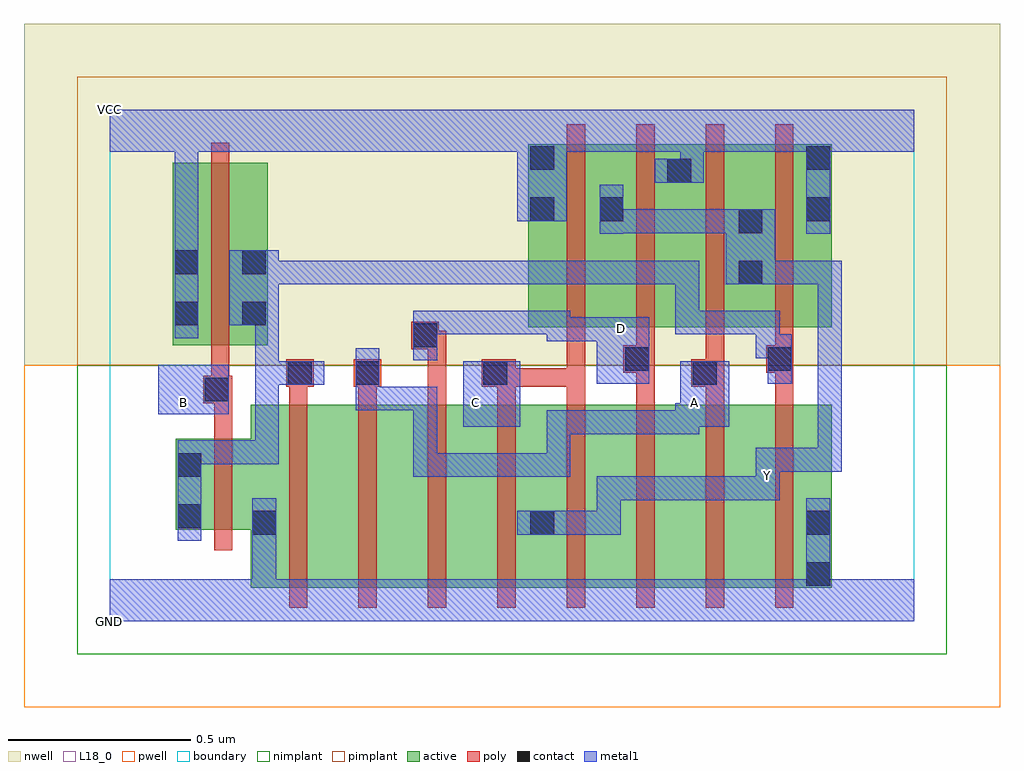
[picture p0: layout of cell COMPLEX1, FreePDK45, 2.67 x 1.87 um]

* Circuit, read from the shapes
.subckt COMPLEX1 A B C D GND VCC Y
M1 GND B n1 VSUBS nfet w=0.25u l=0.05u
M2 n2 n1 GND VSUBS nfet w=0.5u l=0.05u
M3 n3 A n2 VSUBS nfet w=0.5u l=0.05u
M4 n4 D n3 VSUBS nfet w=0.5u l=0.05u
M5 Y C n4 VSUBS nfet w=0.5u l=0.05u
M6 n5 C Y VSUBS nfet w=0.5u l=0.05u
M7 n6 D n5 VSUBS nfet w=0.5u l=0.05u
M8 n7 A n6 VSUBS nfet w=0.5u l=0.05u
M9 GND n1 n7 VSUBS nfet w=0.5u l=0.05u
M10 n1 B VCC n8 pfet w=0.5u l=0.05u
M11 Y C VCC n8 pfet w=0.5u l=0.05u
M12 VCC D Y n8 pfet w=0.5u l=0.05u
M13 Y A VCC n8 pfet w=0.5u l=0.05u
M14 VCC n1 Y n8 pfet w=0.5u l=0.05u
.ends

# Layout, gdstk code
import gdstk
lib = gdstk.Library(unit=1e-6, precision=1e-09)
def R(c, l, rs):  # rectangles x0, y0, x1, y1
    for r in rs: c.add(gdstk.rectangle(r[:2], r[2:], *l))
def A(c, l, x, y, w, h, nx, ny, dx, dy):  # array of equal rectangles
    R(c, l, [(x+i*dx, y+j*dy, x+i*dx+w, y+j*dy+h) for i in range(nx) for j in range(ny)])
active = (1, 0)
pwell = (2, 0)
nwell = (3, 0)
nimplant = (4, 0)
pimplant = (5, 0)
poly = (9, 0)
contact = (10, 0)
metal1 = (11, 0)
L18_0 = (18, 0)
boundary = (235, 0)

complex1 = lib.new_cell('COMPLEX1')
R(complex1, active, [(0.385,0.092,0.61,0.592), (0.61,0.092,0.8,0.592), (0.8,0.092,0.99,0.592), (0.99,0.092,1.22,0.592), (1.145,0.092,1.37,0.592), (1.37,0.092,1.56,0.592), (1.56,0.092,1.75,0.592), (1.75,0.092,1.975,0.592), (1.9,0.092,1.975,0.592), (1.145,0.145,1.22,0.577), (0.385,0.232,0.46,0.497), (0.18,0.25,0.46,0.5), (0.18,0.25,0.255,0.5), (0.172,0.755,0.247,1.255), (0.172,0.755,0.432,1.255), (0.357,0.755,0.432,1.2), (1.145,0.805,1.41,1.305), (1.335,0.805,1.595,1.305), (1.52,0.805,1.79,1.305), (1.715,0.805,1.975,1.305), (1.9,0.805,1.975,1.305), (1.145,0.807,1.22,1.305), (1.335,0.807,1.41,1.2), (1.52,0.807,1.595,1.305), (1.715,0.807,1.79,1.2)])
R(complex1, pwell, [(-0.235,-0.235,2.435,0.7)])
R(complex1, nwell, [(-0.235,0.7,2.435,1.635)])
R(complex1, nimplant, [(-0.09,-0.09,2.29,0.7)])
R(complex1, pimplant, [(-0.09,0.7,2.29,1.49)])
A(complex1, poly, 0.49, 0.037, 0.05, 0.61, 8, 1, 0.19, 0)
A(complex1, poly, 1.25, 0.75, 0.05, 0.61, 4, 1, 0.19, 0)
R(complex1, poly, [(0.285,0.195,0.335,0.555), (0.285,0.505,0.335,0.647), (0.255,0.597,0.335,0.672), (0.49,0.597,0.54,0.692), (0.68,0.597,0.73,0.692), (0.87,0.597,0.92,0.795), (1.06,0.597,1.11,0.692), (1.25,0.597,1.3,0.692), (1.44,0.597,1.49,0.73), (1.63,0.597,1.68,0.692), (1.82,0.597,1.87,0.73), (0.277,0.622,0.327,0.672), (0.277,0.622,0.327,0.672), (0.277,0.622,0.327,0.75), (0.482,0.642,0.557,0.717), (0.667,0.642,0.742,0.717), (1.017,0.642,1.11,0.717), (1.06,0.642,1.3,0.692), (1.25,0.642,1.3,0.692), (1.25,0.642,1.3,0.692), (1.25,0.642,1.3,0.692), (1.25,0.642,1.3,0.692), (1.25,0.642,1.3,0.692), (1.25,0.642,1.3,0.8), (1.59,0.642,1.68,0.717), (1.63,0.667,1.68,0.717), (1.63,0.667,1.68,0.717), (1.63,0.667,1.68,0.8), (1.405,0.68,1.49,0.755), (1.44,0.68,1.49,0.73), (1.44,0.68,1.49,0.73), (1.795,0.68,1.87,0.755), (1.82,0.68,1.87,0.73), (1.82,0.68,1.87,0.73), (0.277,0.7,0.327,1.31), (1.44,0.705,1.49,0.8), (1.82,0.705,1.87,0.8), (0.825,0.745,0.9,0.82), (0.85,0.745,0.9,0.795), (0.85,0.745,0.92,0.795)])
R(complex1, contact, [(1.905,0.097,1.97,0.162), (0.39,0.237,0.455,0.302), (1.15,0.237,1.215,0.302), (1.905,0.237,1.97,0.302), (0.185,0.255,0.25,0.32), (0.185,0.395,0.25,0.46), (0.26,0.602,0.325,0.667), (0.487,0.647,0.552,0.712), (0.672,0.647,0.737,0.712), (1.022,0.647,1.087,0.712), (1.595,0.647,1.66,0.712), (1.41,0.685,1.475,0.75), (1.8,0.685,1.865,0.75), (0.83,0.75,0.895,0.815), (0.177,0.81,0.242,0.875), (0.362,0.81,0.427,0.875), (1.72,0.922,1.785,0.987), (0.177,0.95,0.242,1.015), (0.362,0.95,0.427,1.015), (1.72,1.062,1.785,1.127), (1.15,1.095,1.215,1.16), (1.34,1.095,1.405,1.16), (1.905,1.095,1.97,1.16), (1.525,1.2,1.59,1.265), (1.15,1.235,1.215,1.3), (1.905,1.235,1.97,1.3)])
R(complex1, metal1, [(0,0,2.2,0.115), (0.39,0.05,0.455,0.267), (1.905,0.05,1.97,0.127), (1.905,0.062,1.97,0.337), (0.39,0.202,0.455,0.337), (0.185,0.22,0.25,0.495), (1.115,0.237,1.25,0.302), (1.185,0.237,1.26,0.302), (1.195,0.237,1.26,0.302), (1.195,0.237,1.397,0.302), (1.332,0.237,1.397,0.302), (1.332,0.237,1.397,0.397), (1.332,0.332,1.397,0.397), (1.332,0.332,1.397,0.397), (1.332,0.332,1.397,0.397), (1.332,0.332,1.612,0.397), (1.547,0.332,1.612,0.397), (1.547,0.332,1.612,0.397), (1.547,0.332,1.612,0.397), (1.547,0.332,1.832,0.397), (1.767,0.332,1.832,0.397), (1.767,0.332,1.832,0.397), (1.767,0.332,1.832,0.475), (0.83,0.395,0.895,0.46), (0.83,0.395,1.1,0.46), (0.83,0.395,0.895,0.642), (1.035,0.395,1.1,0.46), (1.035,0.395,1.26,0.46), (1.195,0.395,1.26,0.46), (1.195,0.395,1.26,0.577), (1.767,0.41,1.832,0.475), (1.767,0.41,1.832,0.475), (1.767,0.41,2.002,0.475), (1.937,0.41,2.002,0.475), (1.937,0.41,2.002,0.987), (0.185,0.43,0.25,0.495), (0.185,0.43,0.25,0.495), (0.185,0.43,0.462,0.495), (0.397,0.43,0.462,0.495), (0.397,0.43,0.462,0.712), (1.195,0.512,1.26,0.577), (1.195,0.512,1.26,0.577), (1.195,0.512,1.26,0.577), (1.195,0.512,1.397,0.577), (1.332,0.512,1.397,0.577), (1.332,0.512,1.397,0.577), (1.332,0.512,1.397,0.577), (1.332,0.512,1.612,0.577), (1.547,0.512,1.612,0.597), (0.967,0.532,1.122,0.712), (1.547,0.532,1.625,0.597), (1.56,0.532,1.695,0.712), (0.132,0.567,0.325,0.702), (0.672,0.577,0.895,0.642), (0.672,0.577,0.737,0.677), (0.83,0.577,0.895,0.642), (0.83,0.577,0.895,0.642), (0.83,0.577,0.895,0.642), (0.672,0.612,0.737,0.677), (0.672,0.612,0.737,0.747), (0.397,0.647,0.462,0.712), (0.397,0.647,0.462,0.712), (0.397,0.647,0.462,0.712), (0.397,0.647,0.517,0.712), (0.397,0.647,0.462,0.875), (0.452,0.647,0.587,0.712), (1.332,0.65,1.475,0.832), (1.8,0.65,1.865,0.785), (0.83,0.715,0.895,0.85), (1.767,0.72,1.865,0.785), (1.767,0.72,1.832,0.85), (1.195,0.767,1.397,0.832), (1.195,0.767,1.26,0.85), (1.332,0.767,1.397,0.832), (1.332,0.767,1.397,0.832), (0.177,0.775,0.242,1.05), (0.83,0.785,0.895,0.85), (0.83,0.785,0.895,0.85), (0.83,0.785,1.122,0.85), (1.057,0.785,1.122,0.85), (1.057,0.785,1.26,0.85), (1.195,0.785,1.26,0.85), (1.195,0.785,1.26,0.85), (1.547,0.785,1.612,0.85), (1.547,0.785,1.612,0.85), (1.547,0.785,1.612,0.85), (1.547,0.785,1.832,0.85), (1.547,0.785,1.612,0.987), (0.327,0.81,0.462,1.015), (0.397,0.922,0.462,0.987), (0.397,0.922,0.462,0.987), (0.397,0.922,0.6,0.987), (0.535,0.922,0.6,0.987), (0.535,0.922,0.757,0.987), (0.692,0.922,0.757,0.987), (0.692,0.922,0.757,0.987), (0.692,0.922,0.757,0.987), (0.692,0.922,0.895,0.987), (0.83,0.922,0.895,0.987), (0.83,0.922,0.895,0.987), (0.83,0.922,0.895,0.987), (0.83,0.922,1.122,0.987), (1.057,0.922,1.122,0.987), (1.057,0.922,1.122,0.987), (1.057,0.922,1.122,0.987), (1.057,0.922,1.26,0.987), (1.195,0.922,1.26,0.987), (1.195,0.922,1.397,0.987), (1.332,0.922,1.397,0.987), (1.332,0.922,1.397,0.987), (1.332,0.922,1.397,0.987), (1.332,0.922,1.612,0.987), (1.547,0.922,1.612,0.987), (1.685,0.922,1.82,1.127), (1.755,0.922,1.832,0.987), (1.767,0.922,1.832,0.987), (1.767,0.922,2.002,0.987), (1.937,0.922,2.002,0.987), (1.937,0.922,2.002,0.987), (1.937,0.922,2.002,0.987), (0.177,0.985,0.242,1.35), (1.34,1.06,1.405,1.195), (1.905,1.06,1.97,1.335), (1.34,1.062,1.405,1.127), (1.34,1.062,1.405,1.127), (1.34,1.062,1.612,1.127), (1.547,1.062,1.612,1.127), (1.547,1.062,1.612,1.127), (1.547,1.062,1.612,1.127), (1.547,1.062,1.75,1.127), (1.685,1.062,1.75,1.127), (1.685,1.062,1.75,1.127), (1.115,1.095,1.25,1.3), (1.49,1.2,1.625,1.265), (1.56,1.2,1.625,1.35), (1.185,1.235,1.25,1.35), (1.905,1.27,1.97,1.35), (0,1.285,2.2,1.4)])
R(complex1, L18_0, [(0,0,2.2,0.115), (0.39,0.05,0.455,0.267), (1.905,0.05,1.97,0.127), (1.905,0.062,1.97,0.337), (0.39,0.202,0.455,0.337), (1.115,0.237,1.25,0.302), (1.185,0.237,1.26,0.302), (1.195,0.237,1.26,0.302), (1.195,0.237,1.397,0.302), (1.332,0.237,1.397,0.302), (1.332,0.237,1.397,0.397), (1.332,0.332,1.397,0.397), (1.332,0.332,1.397,0.397), (1.332,0.332,1.397,0.397), (1.332,0.332,1.612,0.397), (1.547,0.332,1.612,0.397), (1.547,0.332,1.612,0.397), (1.547,0.332,1.612,0.397), (1.547,0.332,1.832,0.397), (1.767,0.332,1.832,0.397), (1.767,0.332,1.832,0.397), (1.767,0.332,1.832,0.475), (1.767,0.367,1.832,0.432), (0.83,0.395,0.895,0.46), (0.83,0.395,0.895,0.642), (0.83,0.395,1.1,0.46), (1.035,0.395,1.1,0.46), (1.035,0.395,1.26,0.46), (1.195,0.395,1.26,0.46), (1.195,0.395,1.26,0.577), (1.767,0.41,1.832,0.475), (1.767,0.41,1.832,0.475), (1.767,0.41,2.002,0.475), (1.937,0.41,2.002,0.475), (1.937,0.41,2.002,0.987), (1.195,0.512,1.26,0.577), (1.195,0.512,1.26,0.577), (1.195,0.512,1.26,0.577), (1.195,0.512,1.397,0.577), (1.332,0.512,1.397,0.577), (1.332,0.512,1.397,0.577), (1.332,0.512,1.397,0.577), (1.332,0.512,1.612,0.577), (1.547,0.512,1.612,0.597), (0.967,0.532,1.122,0.712), (1.547,0.532,1.625,0.597), (1.56,0.532,1.695,0.712), (0.132,0.567,0.325,0.702), (0.167,0.567,0.232,0.632), (0.967,0.567,1.032,0.632), (1.567,0.567,1.632,0.632), (0.672,0.577,0.737,0.677), (0.672,0.577,0.895,0.642), (0.83,0.577,0.895,0.642), (0.83,0.577,0.895,0.642), (0.83,0.577,0.895,0.642), (0.672,0.612,0.737,0.747), (0.672,0.612,0.737,0.677), (1.332,0.65,1.475,0.832), (0.83,0.715,0.895,0.85), (1.195,0.767,1.26,0.85), (1.195,0.767,1.397,0.832), (1.332,0.767,1.397,0.832), (1.332,0.767,1.397,0.832), (1.367,0.767,1.432,0.832), (0.177,0.775,0.242,1.05), (0.83,0.785,0.895,0.85), (0.83,0.785,0.895,0.85), (0.83,0.785,1.122,0.85), (1.057,0.785,1.122,0.85), (1.057,0.785,1.26,0.85), (1.195,0.785,1.26,0.85), (1.195,0.785,1.26,0.85), (1.685,0.922,1.82,1.127), (1.755,0.922,1.832,0.987), (1.767,0.922,1.832,0.987), (1.767,0.922,2.002,0.987), (1.937,0.922,2.002,0.987), (1.937,0.922,2.002,0.987), (1.937,0.922,2.002,0.987), (0.177,0.985,0.242,1.35), (1.34,1.06,1.405,1.195), (1.905,1.06,1.97,1.335), (1.34,1.062,1.405,1.127), (1.34,1.062,1.405,1.127), (1.34,1.062,1.612,1.127), (1.547,1.062,1.612,1.127), (1.547,1.062,1.612,1.127), (1.547,1.062,1.612,1.127), (1.547,1.062,1.75,1.127), (1.685,1.062,1.75,1.127), (1.685,1.062,1.75,1.127), (1.115,1.095,1.25,1.3), (1.49,1.2,1.625,1.265), (1.56,1.2,1.625,1.35), (1.185,1.235,1.25,1.35), (1.905,1.27,1.97,1.35), (0,1.285,2.2,1.4)])
R(complex1, boundary, [(0,0,2.2,1.4)])
complex1.add(gdstk.Label('A', (1.6,0.6), layer=11, texttype=0))
complex1.add(gdstk.Label('B', (0.2,0.6), layer=11, texttype=0))
complex1.add(gdstk.Label('C', (1,0.6), layer=11, texttype=0))
complex1.add(gdstk.Label('D', (1.4,0.8), layer=11, texttype=0))
complex1.add(gdstk.Label('Y', (1.8,0.4), layer=11, texttype=0))
complex1.add(gdstk.Label('VCC', (0,1.4), layer=11, texttype=0))
complex1.add(gdstk.Label('GND', (0,0), layer=11, texttype=0))

lib.write_gds('COMPLEX1.gds')
